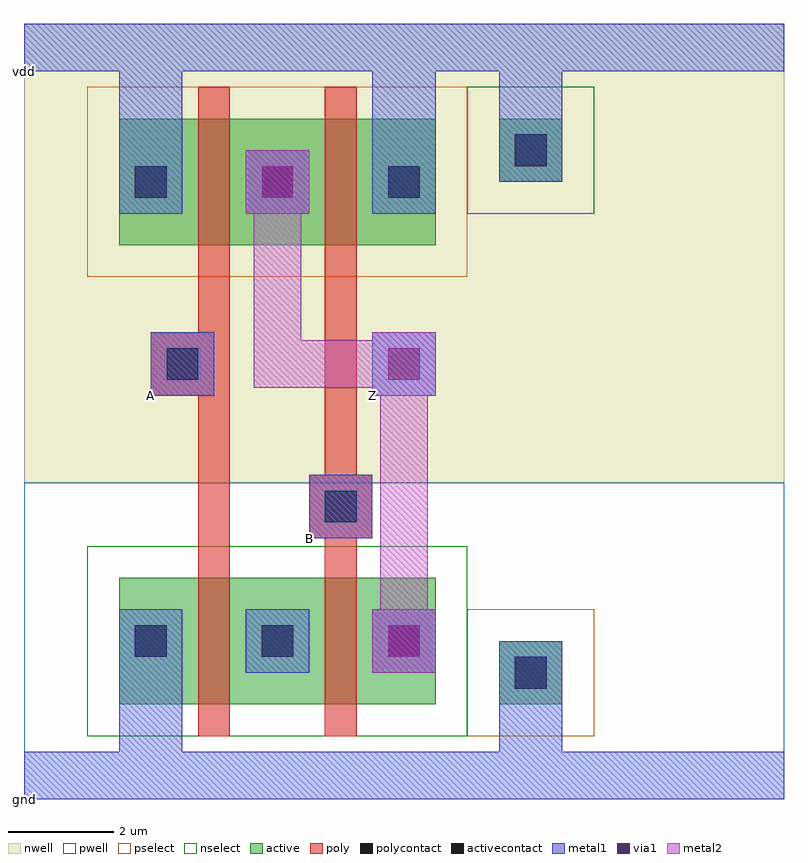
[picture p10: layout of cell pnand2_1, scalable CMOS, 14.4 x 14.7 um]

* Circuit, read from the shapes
.subckt pnand2_1 A B Z gnd vdd
M1 nmos_m1_w2_4_a_p_2/D A gnd gnd nfet w=2.4u l=0.6u
M2 Z B nmos_m1_w2_4_a_p_2/D gnd nfet w=2.4u l=0.6u
M3 Z A vdd vdd pfet w=2.4u l=0.6u
M4 vdd B Z vdd pfet w=2.4u l=0.6u
.ends

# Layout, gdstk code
from math import pi, radians
import gdstk
lib = gdstk.Library(unit=1e-6, precision=1e-09)
def R(c, l, rs):  # rectangles x0, y0, x1, y1
    for r in rs: c.add(gdstk.rectangle(r[:2], r[2:], *l))
pwell = (41, 0)
nwell = (42, 0)
active = (43, 0)
pselect = (44, 0)
nselect = (45, 0)
poly = (46, 0)
polycontact = (47, 0)
activecontact = (48, 0)
metal1 = (49, 0)
via1 = (50, 0)
metal2 = (51, 0)

active_contact_metal1_1x = lib.new_cell('active_contact_metal1_1x1_pn')
R(active_contact_metal1_1x, nwell, [(-1.8,-1.8,3,3), (-1.8,-1.8,3,3)])
R(active_contact_metal1_1x, active, [(0,0,1.2,1.2), (0,0,1.2,1.2)])
R(active_contact_metal1_1x, pselect, [(-0.6,-0.6,1.8,1.8), (-0.6,-0.6,1.8,1.8)])
R(active_contact_metal1_1x, activecontact, [(0.3,0.3,0.9,0.9), (0.3,0.3,0.9,0.9)])
R(active_contact_metal1_1x, metal1, [(0,0,1.2,1.2), (0,0,1.2,1.2)])

pmos_m1_w2_4_a_p = lib.new_cell('pmos_m1_w2_4_a_p')
R(pmos_m1_w2_4_a_p, nwell, [(-1.8,-1.8,5.4,4.2), (-1.8,-1.8,5.4,4.2)])
R(pmos_m1_w2_4_a_p, active, [(0,0,3.6,2.4), (0,0,3.6,2.4)])
R(pmos_m1_w2_4_a_p, pselect, [(-0.6,-0.6,4.2,3), (-0.6,-0.6,4.2,3)])
R(pmos_m1_w2_4_a_p, poly, [(1.5,-0.6,2.1,3), (1.5,-0.6,2.1,3), (1.5,-0.6,2.1,3), (1.5,-0.6,2.1,3)])
R(pmos_m1_w2_4_a_p, metal1, [(0,0.6,1.2,1.8), (0,0.6,1.2,1.8), (2.4,0.6,3.6,1.8), (2.4,0.6,3.6,1.8)])
pmos_m1_w2_4_a_p.add(gdstk.Reference(active_contact_metal1_1x, (0,0.6)))
pmos_m1_w2_4_a_p.add(gdstk.Reference(active_contact_metal1_1x, (2.4,0.6)))
pmos_m1_w2_4_a_p.add(gdstk.Reference(active_contact_metal1_1x, (0,0.6)))
pmos_m1_w2_4_a_p.add(gdstk.Reference(active_contact_metal1_1x, (2.4,0.6)))
pmos_m1_w2_4_a_p.add(gdstk.Label('S', (0,0.6), layer=49, texttype=0))
pmos_m1_w2_4_a_p.add(gdstk.Label('D', (2.4,0.6), layer=49, texttype=0))
pmos_m1_w2_4_a_p.add(gdstk.Label('G', (1.5,-0.6), layer=46, texttype=0))
pmos_m1_w2_4_a_p.add(gdstk.Label('S', (0,0.6), layer=49, texttype=0))
pmos_m1_w2_4_a_p.add(gdstk.Label('D', (2.4,0.6), layer=49, texttype=0))
pmos_m1_w2_4_a_p.add(gdstk.Label('G', (1.5,-0.6), layer=46, texttype=0))

c_active_contact_metal1_1x = lib.new_cell('active_contact_metal1_1x1_np')
R(c_active_contact_metal1_1x, pwell, [(-1.8,-1.8,3,3)])
R(c_active_contact_metal1_1x, active, [(0,0,1.2,1.2)])
R(c_active_contact_metal1_1x, nselect, [(-0.6,-0.6,1.8,1.8)])
R(c_active_contact_metal1_1x, activecontact, [(0.3,0.3,0.9,0.9)])
R(c_active_contact_metal1_1x, metal1, [(0,0,1.2,1.2)])

nmos_m1_w2_4_a_p = lib.new_cell('nmos_m1_w2_4_a_p')
R(nmos_m1_w2_4_a_p, pwell, [(-1.8,-1.8,5.4,4.2), (-1.8,-1.8,5.4,4.2)])
R(nmos_m1_w2_4_a_p, active, [(0,0,3.6,2.4), (0,0,3.6,2.4)])
R(nmos_m1_w2_4_a_p, nselect, [(-0.6,-0.6,4.2,3), (-0.6,-0.6,4.2,3)])
R(nmos_m1_w2_4_a_p, poly, [(1.5,-0.6,2.1,3), (1.5,-0.6,2.1,3), (1.5,-0.6,2.1,3), (1.5,-0.6,2.1,3)])
R(nmos_m1_w2_4_a_p, metal1, [(0,0.6,1.2,1.8), (0,0.6,1.2,1.8), (2.4,0.6,3.6,1.8), (2.4,0.6,3.6,1.8)])
nmos_m1_w2_4_a_p.add(gdstk.Reference(c_active_contact_metal1_1x, (0,0.6)))
nmos_m1_w2_4_a_p.add(gdstk.Reference(c_active_contact_metal1_1x, (2.4,0.6)))
nmos_m1_w2_4_a_p.add(gdstk.Reference(c_active_contact_metal1_1x, (0,0.6)))
nmos_m1_w2_4_a_p.add(gdstk.Reference(c_active_contact_metal1_1x, (2.4,0.6)))
nmos_m1_w2_4_a_p.add(gdstk.Label('S', (0,0.6), layer=49, texttype=0))
nmos_m1_w2_4_a_p.add(gdstk.Label('D', (2.4,0.6), layer=49, texttype=0))
nmos_m1_w2_4_a_p.add(gdstk.Label('G', (1.5,-0.6), layer=46, texttype=0))
nmos_m1_w2_4_a_p.add(gdstk.Label('S', (0,0.6), layer=49, texttype=0))
nmos_m1_w2_4_a_p.add(gdstk.Label('D', (2.4,0.6), layer=49, texttype=0))
nmos_m1_w2_4_a_p.add(gdstk.Label('G', (1.5,-0.6), layer=46, texttype=0))

c_active_contact_metal1_1x_ = lib.new_cell('active_contact_metal1_1x1_nn')
R(c_active_contact_metal1_1x_, nwell, [(-1.8,-1.8,3,3), (-1.8,-1.8,3,3)])
R(c_active_contact_metal1_1x_, active, [(0,0,1.2,1.2), (0,0,1.2,1.2)])
R(c_active_contact_metal1_1x_, nselect, [(-0.6,-0.6,1.8,1.8), (-0.6,-0.6,1.8,1.8)])
R(c_active_contact_metal1_1x_, activecontact, [(0.3,0.3,0.9,0.9), (0.3,0.3,0.9,0.9)])
R(c_active_contact_metal1_1x_, metal1, [(0,0,1.2,1.2), (0,0,1.2,1.2)])

c_active_contact_metal1_1x__ = lib.new_cell('active_contact_metal1_1x1_pp')
R(c_active_contact_metal1_1x__, pwell, [(-1.8,-1.8,3,3)])
R(c_active_contact_metal1_1x__, active, [(0,0,1.2,1.2)])
R(c_active_contact_metal1_1x__, pselect, [(-0.6,-0.6,1.8,1.8)])
R(c_active_contact_metal1_1x__, activecontact, [(0.3,0.3,0.9,0.9)])
R(c_active_contact_metal1_1x__, metal1, [(0,0,1.2,1.2)])

poly_contact_metal1_1x1 = lib.new_cell('poly_contact_metal1_1x1')
R(poly_contact_metal1_1x1, poly, [(0,0,1.2,1.2), (0,0,1.2,1.2)])
R(poly_contact_metal1_1x1, polycontact, [(0.3,0.3,0.9,0.9), (0.3,0.3,0.9,0.9)])
R(poly_contact_metal1_1x1, metal1, [(0,0,1.2,1.2), (0,0,1.2,1.2)])

metal1_via1_metal2_1x1 = lib.new_cell('metal1_via1_metal2_1x1')
R(metal1_via1_metal2_1x1, metal1, [(0,0,1.2,1.2), (0,0,1.2,1.2)])
R(metal1_via1_metal2_1x1, via1, [(0.3,0.3,0.9,0.9), (0.3,0.3,0.9,0.9)])
R(metal1_via1_metal2_1x1, metal2, [(0,0,1.2,1.2), (0,0,1.2,1.2)])

pnand2_1 = lib.new_cell('pnand2_1')
R(pnand2_1, pwell, [(0,-0.45,14.4,5.55)])
R(pnand2_1, nwell, [(0,5.55,14.4,14.25)])
R(pnand2_1, poly, [(3.3,0.75,3.9,9.45), (5.7,0.75,6.3,9.45), (5.7,4.5,6,5.7), (3,7.2,3.3,8.4)])
R(pnand2_1, metal1, [(0,-0.45,14.4,0.45), (1.8,-0.45,3,1.95), (9,0,10.2,1.95), (5.4,4.5,6.6,5.7), (2.4,7.2,3.6,8.4), (6.6,7.2,7.8,8.4), (1.8,10.65,3,14.25), (6.6,10.65,7.8,14.25), (9,11.85,10.2,13.8), (0,13.35,14.4,14.25)])
R(pnand2_1, metal2, [(6.75,3.15,7.65,7.8), (4.35,7.35,5.25,8.25), (4.8,7.35,7.2,8.25), (6.75,7.35,7.65,8.25), (4.35,7.8,5.25,10.65)])
pnand2_1.add(gdstk.Reference(pmos_m1_w2_4_a_p, (1.8,10.05)))
pnand2_1.add(gdstk.Reference(pmos_m1_w2_4_a_p, (4.2,10.05)))
pnand2_1.add(gdstk.Reference(nmos_m1_w2_4_a_p, (1.8,1.35)))
pnand2_1.add(gdstk.Reference(nmos_m1_w2_4_a_p, (4.2,1.35)))
pnand2_1.add(gdstk.Reference(c_active_contact_metal1_1x_, (9,11.25)))
pnand2_1.add(gdstk.Reference(c_active_contact_metal1_1x__, (9,1.35)))
pnand2_1.add(gdstk.Reference(poly_contact_metal1_1x1, (6.6,4.5), rotation=pi/2))
pnand2_1.add(gdstk.Reference(poly_contact_metal1_1x1, (3.6,7.2), rotation=pi/2))
pnand2_1.add(gdstk.Reference(metal1_via1_metal2_1x1, (4.2,10.65)))
pnand2_1.add(gdstk.Reference(metal1_via1_metal2_1x1, (6.6,1.95)))
pnand2_1.add(gdstk.Reference(metal1_via1_metal2_1x1, (7.8,7.2), rotation=pi/2))
pnand2_1.add(gdstk.Label('A', (2.4,7.2), layer=49, texttype=0))
pnand2_1.add(gdstk.Label('Z', (6.6,7.2), layer=49, texttype=0))
pnand2_1.add(gdstk.Label('B', (5.4,4.5), layer=49, texttype=0))
pnand2_1.add(gdstk.Label('vdd', (0,13.35), layer=49, texttype=0))
pnand2_1.add(gdstk.Label('gnd', (0,-0.45), layer=49, texttype=0))

lib.write_gds('pnand2_1.gds')
